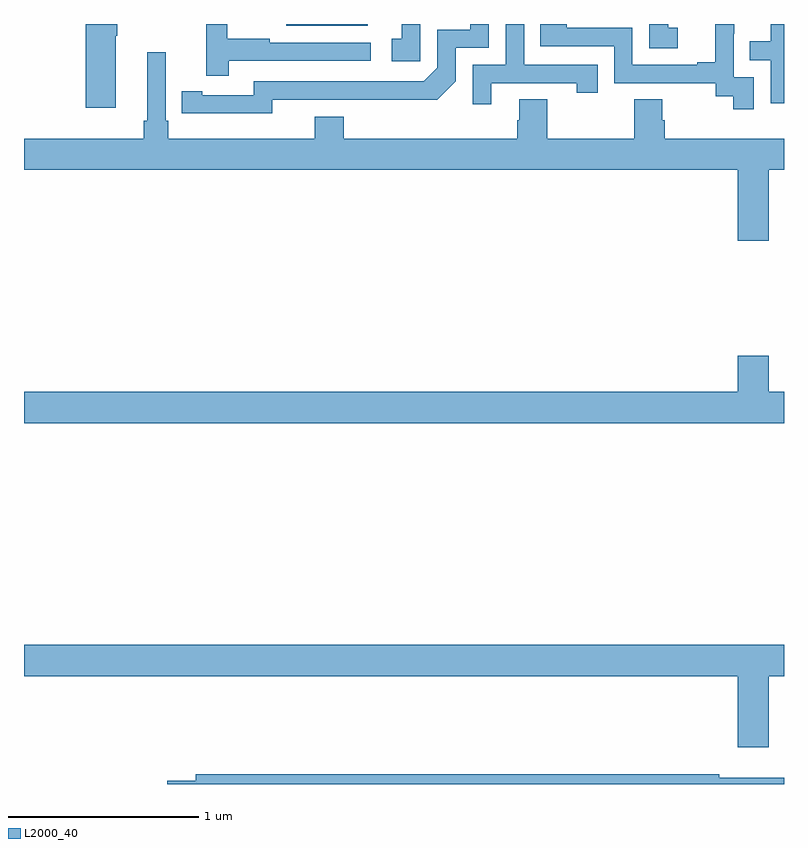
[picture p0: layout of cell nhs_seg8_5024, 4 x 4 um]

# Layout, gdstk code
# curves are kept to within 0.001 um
import gdstk
lib = gdstk.Library(unit=1e-6, precision=1e-09)
def R(c, l, rs):  # rectangles x0, y0, x1, y1
    for r in rs: c.add(gdstk.rectangle(r[:2], r[2:], *l))
def P(c, l, *ps):  # polygons
    for p in ps: c.add(gdstk.Polygon(p, *l))
L2000_40 = (2000, 40)

nhs_seg8_5024 = lib.new_cell('nhs_seg8_5024')
R(nhs_seg8_5024, L2000_40, [(414.381,1151.891,414.808,1151.9)])
P(nhs_seg8_5024, L2000_40, [(416.44,1151.881),(416.391,1151.881),(416.391,1151.9),(416.292,1151.9),(416.292,1151.772),(416.44,1151.772)],
  [(415.459,1151.589),(415.91,1151.589),(415.91,1151.538),(416.021,1151.538),(416.021,1151.685),(415.632,1151.685),(415.632,1151.9),(415.536,1151.9),(415.536,1151.685),(415.362,1151.685),(415.362,1151.478),(415.459,1151.478)],
  [(414.077,1151.706),(414.826,1151.706),(414.826,1151.802),(414.293,1151.802),(414.293,1151.822),(414.07,1151.822),(414.07,1151.9),(413.949,1151.9),(413.949,1151.899),(413.96,1151.899),(413.96,1151.628),(414.077,1151.628)],
  [(416.841,1151.619),(416.736,1151.619),(416.736,1151.849),(416.738,1151.849),(416.738,1151.9),(416.639,1151.9),(416.639,1151.698),(416.543,1151.698),(416.543,1151.685),(416.202,1151.685),(416.202,1151.88),(415.857,1151.88),(415.857,1151.9),(415.717,1151.9),(415.717,1151.784),(416.106,1151.784),(416.106,1151.589),(416.64,1151.589),(416.64,1151.521),(416.733,1151.521),(416.733,1151.451),(416.841,1151.451)],
  [(414.306,1151.502),(415.174,1151.501),(415.272,1151.598),(415.272,1151.775),(415.446,1151.775),(415.446,1151.9),(415.349,1151.9),(415.349,1151.871),(415.176,1151.871),(415.176,1151.67),(415.104,1151.598),(414.21,1151.598),(414.21,1151.526),(413.938,1151.526),(413.938,1151.546),(413.83,1151.546),(413.83,1151.43),(414.306,1151.429)],
  [(415.086,1151.9),(414.989,1151.9),(414.989,1151.823),(414.936,1151.823),(414.936,1151.703),(415.086,1151.703)],
  [(417,1151.9),(416.931,1151.9),(416.931,1151.81),(416.821,1151.81),(416.821,1151.709),(416.931,1151.709),(416.931,1151.484),(417,1151.484)],
  [(413.482,1151.839),(413.49,1151.839),(413.49,1151.9),(413.324,1151.9),(413.324,1151.46),(413.482,1151.46)],
  [(416.92,1151.132),(417,1151.132),(417,1151.296),(416.372,1151.296),(416.372,1151.394),(416.359,1151.394),(416.359,1151.504),(416.212,1151.504),(416.212,1151.296),(415.755,1151.296),(415.755,1151.504),(415.607,1151.504),(415.607,1151.394),(415.595,1151.394),(415.595,1151.296),(414.683,1151.296),(414.683,1151.413),(414.53,1151.413),(414.53,1151.296),(413.759,1151.296),(413.759,1151.392),(413.745,1151.392),(413.745,1151.752),(413.648,1151.752),(413.648,1151.392),(413.629,1151.392),(413.629,1151.296),(413,1151.296),(413,1151.132),(416.756,1151.132),(416.756,1150.758),(416.92,1150.758)],
  [(417,1149.964),(416.92,1149.964),(416.92,1150.153),(416.756,1150.153),(416.756,1149.964),(413,1149.964),(413,1149.8),(417,1149.8)],
  [(413,1148.468),(416.756,1148.468),(416.756,1148.094),(416.92,1148.094),(416.92,1148.468),(417,1148.468),(417,1148.632),(413,1148.632)],
  [(417,1147.933),(416.66,1147.933),(416.66,1147.952),(413.903,1147.952),(413.903,1147.916),(413.754,1147.916),(413.754,1147.9),(417,1147.9)])

lib.write_gds('nhs_seg8_5024.gds')
